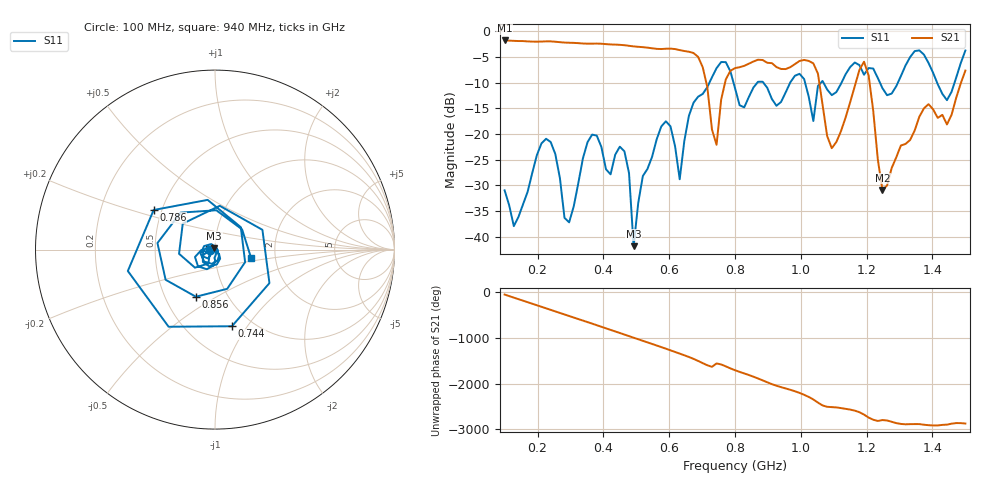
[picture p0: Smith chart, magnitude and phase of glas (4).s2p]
! NanoVNA-App
! Date: 2025-09-25 15:55:30
! Start: 100MHz Stop: 1,5GHz Points: 101
! S-Parameter data: F S11 S21 S12 S22
# Hz S RI R 50
!  Frequency  S11_Real  S11_Imag  S21_Real  S21_Imag  S12_Real  S12_Imag  S22_Real  S22_Imag
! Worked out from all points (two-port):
!   101 points, 100 MHz to 1.5 GHz, reference 50 ohm
!   highest |S21| = -1.80 dB at 100 MHz (marker M1); lowest = -30.9 dB at 1.248 GHz (marker M2)
!   |S21| within 3 dB of the highest: start of sweep to 684.2 MHz
!   lowest |S11| = -41.8 dB at 492 MHz (marker M3), VSWR 1.02, Z = 49.5 + j0.631 ohm
!   |S11| at or under -10 dB: start of sweep to 722.4 MHz; 795.4 MHz to 867.9 MHz (72.45 MHz wide, 8.71 % of centre); 886 MHz to 967.7 MHz (81.61 MHz wide, 8.81 % of centre) (the widest 3 of 7)
!   S12 and S22 are empty: the file has one direction only
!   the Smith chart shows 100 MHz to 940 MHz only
!   S11 on the Smith chart (normalised r, x): 100 MHz: 0.95, -0.01; 744 MHz: 0.81, -0.85; 786 MHz: 0.45, +0.24; 856 MHz: 0.71, -0.41; 940 MHz: 1.49, -0.14
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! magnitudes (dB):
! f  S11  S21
! 100 MHz  -31.0  -1.8
! 128 MHz  -37.9  -1.9
! 226 MHz  -20.9  -2.0
! 296 MHz  -37.2  -2.2
! 338 MHz  -24.7  -2.4
! 464 MHz  -23.4  -2.7
! 492 MHz  -41.8  -3.0
! 576 MHz  -18.5  -3.5
! 632 MHz  -28.8  -3.7
! 702 MHz  -12.2  -7.0
! 744 MHz  -7.2  -22.1
! 786 MHz  -7.8  -7.7
! 800 MHz  -11.1  -7.2
! 856 MHz  -11.0  -5.9
! 940 MHz  -13.8  -7.3
! 996 MHz  -8.3  -5.8
! 1.038 GHz  -17.5  -6.3
! 1.094 GHz  -12.4  -22.8
! 1.192 GHz  -8.5  -5.9
! 1.248 GHz  -11.1  -30.9
! 1.276 GHz  -12.1  -26.6
! 1.5 GHz  -3.8  -7.7
